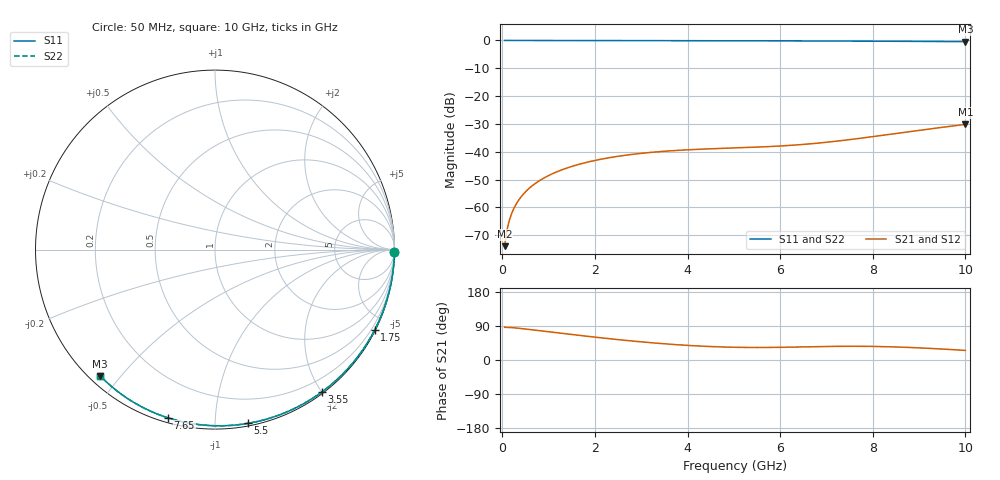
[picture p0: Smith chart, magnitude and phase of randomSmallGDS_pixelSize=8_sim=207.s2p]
! freq	dB(S11)	phase(S11)	dB(S12)	phase(S12)
!  dB(S21)	phase(S21)	dB(S22)	phase(S22)
!S-par simulation data
#  GHz  S  DB  R 50
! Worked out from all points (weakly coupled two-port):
!   200 points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, 50 MHz to 10 GHz, reference 50 ohm
!   highest |S21| = -30.16 dB at 10 GHz (marker M1); lowest = -73.9 dB at 50 MHz (marker M2)
!   lowest |S11| = -0.4 dB at 10 GHz (marker M3), VSWR 39.67, Z = 1.51 - j22.1 ohm
!   |S11| at or under -10 dB: nowhere
!   |S22| runs from -0.4 to 0.0 dB; largest |S21 - S12| = 0
!   S11 on the Smith chart (normalised r, x): 50 MHz: open; 1.75 GHz: 0.04, -4.20; 3.55 GHz: 0.02, -2.01; 5.5 GHz: 0.02, -1.21; 7.65 GHz: 0.02, -0.76; 10 GHz: 0.03, -0.44
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0.05  -0.00 -0.8  -73.92 86.3  -73.92 86.3  -0.00 -0.8
0.1  -0.00 -1.6  -68.17 86.1  -68.17 86.1  -0.00 -1.6
0.15  -0.00 -2.3  -64.74 85.9  -64.74 85.9  -0.00 -2.3
0.2  -0.00 -3.1  -62.28 85.6  -62.28 85.6  -0.00 -3.1
0.25  -0.00 -3.9  -60.36 85.0  -60.36 85.0  -0.00 -3.9
0.35  -0.00 -5.4  -57.47 83.8  -57.47 83.8  -0.00 -5.4
0.5  -0.01 -7.8  -54.40 81.8  -54.40 81.8  -0.01 -7.8
0.7  -0.01 -10.8  -51.53 78.9  -51.53 78.9  -0.01 -10.8
1  -0.02 -15.4  -48.54 74.5  -48.54 74.5  -0.02 -15.4
1.35  -0.03 -20.8  -46.10 69.4  -46.10 69.4  -0.03 -20.8
1.75  -0.03 -26.8  -44.10 63.7  -44.10 63.7  -0.03 -26.8
2.5  -0.05 -37.9  -41.62 53.8  -41.62 53.8  -0.05 -37.9
3.4  -0.07 -50.9  -39.95 43.7  -39.95 43.7  -0.07 -50.9
3.55  -0.07 -53.0  -39.76 42.3  -39.76 42.3  -0.07 -53.0
4.3  -0.09 -63.4  -39.06 36.6  -39.06 36.6  -0.09 -63.4
5.05  -0.11 -73.4  -38.60 33.5  -38.60 33.5  -0.11 -73.4
5.5  -0.13 -79.3  -38.33 33.0  -38.33 33.0  -0.13 -79.3
6.7  -0.18 -94.3  -37.07 35.0  -37.07 35.0  -0.18 -94.3
7.65  -0.24 -105.6  -35.32 36.2  -35.32 36.2  -0.24 -105.6
8.35  -0.29 -113.7  -33.78 34.9  -33.78 34.9  -0.29 -113.7
9.15  -0.35 -122.8  -31.98 31.2  -31.98 31.2  -0.35 -122.8
10  -0.44 -132.3  -30.16 25.4  -30.16 25.4  -0.44 -132.3
